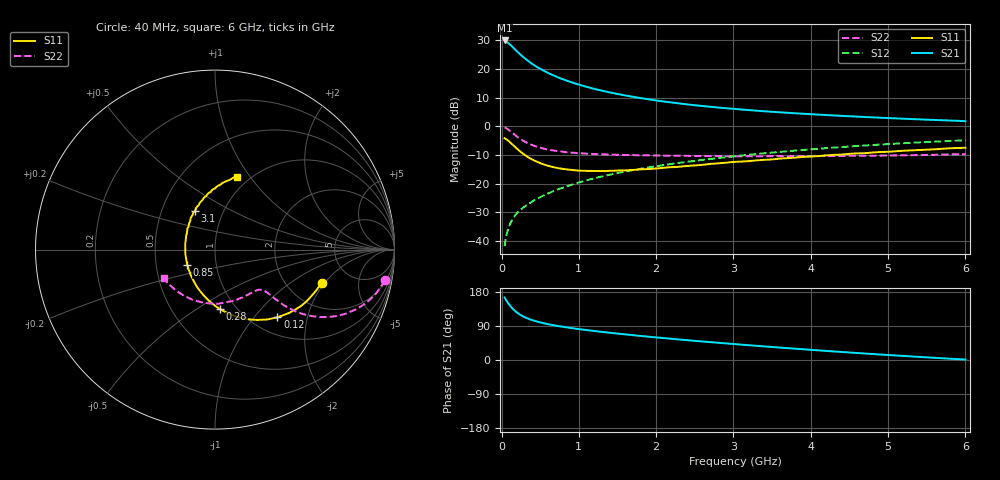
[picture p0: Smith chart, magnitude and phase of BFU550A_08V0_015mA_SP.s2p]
! Filename:  P:\Prog\Test\Noise\ATS_data\Testdata_Net\03 Spar\BFU550A_APG2013_35_C05_08p0V_015mA_SP_CM01_D.s2p
! Date/Time: Tue 16/Apr/2013 15:10:19
! BFU550A_APG2013_35_C05_08p0V_1to35mA_SP_CM01_Bias6_R.s2p
! MDIF S-parameter v. bias file
! BFU550A_APG2013_35_C05_08p0V_1to35mA_SP_CM01
! Date/time Mon Apr 15 16:50:27 2013
! VAR V_out= 8.0000
! VAR I_out= 14.9950
! VAR V_in= 0.8145
! VAR I_in= 0.1538
! Device data file deembeded for feedlines and parallel
! Original file: \03 Spar\BFU550A_APG2013_35_C05_08p0V_015mA_SP_CM01_R.s2p
! Feed-files: PR017V01_150413_Feed1.s2p, PR017V01_150413_Feed2.s2p
! Parallel-file: PR017V01_150413_Par.s2p
# MHz S MA R 50
!  Freq-MHz  S11-mag  S11-arg  S21-mag  S21-arg  S12-mag  S12-arg  S22-mag  S22-arg
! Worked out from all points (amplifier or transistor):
!   98 points, 40 MHz to 6 GHz, reference 50 ohm
!   highest |S21| = 30.0 dB at 40 MHz (marker M1)
!   |S21| within 3 dB of that: start of sweep to 168.9 MHz
!   unconditionally stable (mu >= 1): 1.204 GHz to 2.122 GHz
!   at 300 MHz: K = 0.72, MSG = 25.9 dB, |S12| = -28.0 dB
!   at 1.6 GHz: K = 1.01, MAG = 12.8 dB, |S12| = -15.8 dB
!   at 6 GHz: K = 0.91, MSG = 3.3 dB, |S12| = -4.9 dB
!   S11 on the Smith chart (normalised r, x): 40 MHz: 3.08, -1.85; 120 MHz: 1.30, -1.33; 280 MHz: 0.84, -0.63; 850 MHz: 0.72, -0.13; 3.1 GHz: 0.73, +0.33; 6 GHz: 0.88, +0.87
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40  0.6217 -17.3  31.63 164.9  0.008089 82.6  0.9613 -10.3
60  0.5972 -25.5  30.32 157.9  0.01182 79.3  0.9302 -15.2
80  0.5722 -33.5  29.05 151.7  0.01521 76.5  0.8926 -19.5
100  0.5435 -40.5  27.51 146.1  0.01831 74.2  0.8512 -23.1
120  0.513 -47.4  26.05 140.9  0.0211 72.3  0.81 -26.2
160  0.4569 -59.1  23.01 132.2  0.0261 69.8  0.7312 -30.9
200  0.4072 -69.1  20.36 125.3  0.03042 68.4  0.6624 -34.1
240  0.3658 -77.7  18.16 119.6  0.03438 68.0  0.6067 -36.2
280  0.3325 -85.3  16.29 115.0  0.03811 67.8  0.5615 -37.6
320  0.3047 -92.1  14.71 111.2  0.04175 67.9  0.5247 -38.4
360  0.2818 -98.2  13.39 107.9  0.0454 68.2  0.4948 -38.9
420  0.2544 -106.6  11.77 103.7  0.0508 68.8  0.4591 -39.2
480  0.2346 -114.2  10.48 100.3  0.05625 69.2  0.4321 -39.3
650  0.1971 -132.7  7.993 92.6  0.07182 70.3  0.3836 -39.5
850  0.1769 -150.7  6.238 85.8  0.09049 70.8  0.3533 -40.1
1050  0.1677 -165.5  5.12 80.2  0.1095 70.7  0.3372 -41.5
1500  0.1693 168.2  3.677 69.7  0.1528 68.8  0.3184 -46.9
2050  0.1861 146.3  2.772 58.7  0.2059 65.3  0.3089 -56.1
3100  0.2426 117.8  1.972 40.5  0.3093 56.8  0.3006 -77.8
4100  0.3027 99.3  1.602 25.4  0.4066 47.3  0.3026 -102.0
5200  0.3755 83.3  1.361 10.7  0.5083 35.7  0.3121 -129.6
6000  0.4232 73.2  1.234 1.2  0.5704 26.8  0.3263 -151.3
